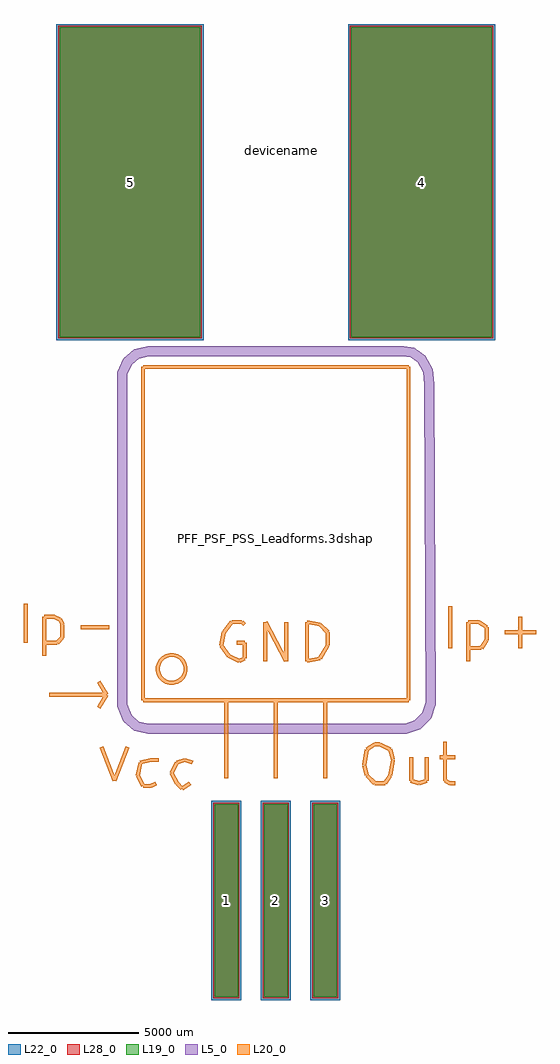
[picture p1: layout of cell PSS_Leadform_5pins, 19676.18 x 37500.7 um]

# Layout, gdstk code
import gdstk
lib = gdstk.Library(unit=1e-6, precision=1e-09)
def R(c, l, rs):  # rectangles x0, y0, x1, y1
    for r in rs: c.add(gdstk.rectangle(r[:2], r[2:], *l))
def A(c, l, x, y, w, h, nx, ny, dx, dy):  # array of equal rectangles
    R(c, l, [(x+i*dx, y+j*dy, x+i*dx+w, y+j*dy+h) for i in range(nx) for j in range(ny)])
L5_0 = (5, 0)
L19_0 = (19, 0)
L20_0 = (20, 0)
L22_0 = (22, 0)
L28_0 = (28, 0)

pss_leadform_5pins = lib.new_cell('PSS_Leadform_5pins')
A(pss_leadform_5pins, L19_0, -2350.3, -17599.19, 900.76, 7400.62, 3, 1, 1899.92, 0)
R(pss_leadform_5pins, L19_0, [(-8301.52,7750.01,-2899.88,19651.51), (2899.88,7750.01,8301.52,19651.51)])
A(pss_leadform_5pins, L22_0, -2475.3, -17724.19, 1150.76, 7650.62, 3, 1, 1899.92, 0)
R(pss_leadform_5pins, L22_0, [(-8426.52,7625.01,-2774.88,19776.51), (2774.88,7625.01,8426.52,19776.51)])
A(pss_leadform_5pins, L28_0, -2400.3, -17649.19, 1000.76, 7500.62, 3, 1, 1899.92, 0)
R(pss_leadform_5pins, L28_0, [(-8351.52,7700.01,-2849.88,19701.51), (2849.88,7700.01,8351.52,19701.51)])
pss_leadform_5pins.add(gdstk.FlexPath([(-5100.32,-6200.14),(-5100.32,6598.92)], 149.998, ends="flush", simple_path=True, layer=20, datatype=0))  # L20_0
pss_leadform_5pins.add(gdstk.FlexPath([(5100.32,-6200.14),(-5100.32,-6200.14)], 149.998, ends="flush", simple_path=True, layer=20, datatype=0))  # L20_0
pss_leadform_5pins.add(gdstk.FlexPath([(5100.32,6598.92),(5100.32,-6200.14)], 149.998, ends="flush", simple_path=True, layer=20, datatype=0))  # L20_0
pss_leadform_5pins.add(gdstk.FlexPath([(-5100.32,6598.92),(5100.32,6598.92)], 149.998, ends="flush", simple_path=True, layer=20, datatype=0))  # L20_0
pss_leadform_5pins.add(gdstk.FlexPath([(0,-6200.14),(0,-9199.88)], 149.998, ends="flush", simple_path=True, layer=20, datatype=0))  # L20_0
pss_leadform_5pins.add(gdstk.FlexPath([(-1899.92,-6200.14),(-1899.92,-9199.88)], 149.998, ends="flush", simple_path=True, layer=20, datatype=0))  # L20_0
pss_leadform_5pins.add(gdstk.FlexPath([(1899.92,-6200.14),(1899.92,-9199.88)], 149.998, ends="flush", simple_path=True, layer=20, datatype=0))  # L20_0
pss_leadform_5pins.add(gdstk.FlexPath([(-9601.2,-2499.36),(-9601.2,-4000.5)], 149.998, ends="flush", simple_path=True, layer=20, datatype=0))  # L20_0
pss_leadform_5pins.add(gdstk.FlexPath([(-8900.16,-2999.74),(-8900.16,-4500.88)], 149.998, ends="flush", simple_path=True, layer=20, datatype=0))  # L20_0
pss_leadform_5pins.add(gdstk.FlexPath([(-8399.78,-4000.5),(-8900.16,-4000.5)], 149.998, ends="flush", simple_path=True, layer=20, datatype=0))  # L20_0
pss_leadform_5pins.add(gdstk.FlexPath([(-8201.66,-3799.84),(-8399.78,-4000.5)], 149.998, ends="flush", simple_path=True, layer=20, datatype=0))  # L20_0
pss_leadform_5pins.add(gdstk.FlexPath([(-8201.66,-3299.46),(-8201.66,-3799.84)], 149.998, ends="flush", simple_path=True, layer=20, datatype=0))  # L20_0
pss_leadform_5pins.add(gdstk.FlexPath([(-8300.72,-3098.8),(-8201.66,-3299.46)], 149.998, ends="flush", simple_path=True, layer=20, datatype=0))  # L20_0
pss_leadform_5pins.add(gdstk.FlexPath([(-8501.38,-2999.74),(-8300.72,-3098.8)], 149.998, ends="flush", simple_path=True, layer=20, datatype=0))  # L20_0
pss_leadform_5pins.add(gdstk.FlexPath([(-8900.16,-2999.74),(-8501.38,-2999.74)], 149.998, ends="flush", simple_path=True, layer=20, datatype=0))  # L20_0
pss_leadform_5pins.add(gdstk.FlexPath([(-6400.8,-3401.06),(-7500.62,-3401.06)], 149.998, ends="flush", simple_path=True, layer=20, datatype=0))  # L20_0
pss_leadform_5pins.add(gdstk.FlexPath([(-1198.88,-4000.5),(-1501.14,-4000.5)], 149.998, ends="flush", simple_path=True, layer=20, datatype=0))  # L20_0
pss_leadform_5pins.add(gdstk.FlexPath([(-1198.88,-4599.94),(-1198.88,-4000.5)], 149.998, ends="flush", simple_path=True, layer=20, datatype=0))  # L20_0
pss_leadform_5pins.add(gdstk.FlexPath([(-1399.54,-4699),(-1198.88,-4599.94)], 149.998, ends="flush", simple_path=True, layer=20, datatype=0))  # L20_0
pss_leadform_5pins.add(gdstk.FlexPath([(-1800.86,-4500.88),(-1399.54,-4699)], 149.998, ends="flush", simple_path=True, layer=20, datatype=0))  # L20_0
pss_leadform_5pins.add(gdstk.FlexPath([(-2100.58,-4099.56),(-1800.86,-4500.88)], 149.998, ends="flush", simple_path=True, layer=20, datatype=0))  # L20_0
pss_leadform_5pins.add(gdstk.FlexPath([(-1998.98,-3599.18),(-2100.58,-4099.56)], 149.998, ends="flush", simple_path=True, layer=20, datatype=0))  # L20_0
pss_leadform_5pins.add(gdstk.FlexPath([(-1699.26,-3200.4),(-1998.98,-3599.18)], 149.998, ends="flush", simple_path=True, layer=20, datatype=0))  # L20_0
pss_leadform_5pins.add(gdstk.FlexPath([(-1300.48,-3200.4),(-1699.26,-3200.4)], 149.998, ends="flush", simple_path=True, layer=20, datatype=0))  # L20_0
pss_leadform_5pins.add(gdstk.FlexPath([(-1198.88,-3299.46),(-1300.48,-3200.4)], 149.998, ends="flush", simple_path=True, layer=20, datatype=0))  # L20_0
pss_leadform_5pins.add(gdstk.FlexPath([(398.78,-4699),(398.78,-3200.4)], 149.998, ends="flush", simple_path=True, layer=20, datatype=0))  # L20_0
pss_leadform_5pins.add(gdstk.FlexPath([(-398.78,-3200.4),(398.78,-4699)], 149.998, ends="flush", simple_path=True, layer=20, datatype=0))  # L20_0
pss_leadform_5pins.add(gdstk.FlexPath([(-398.78,-4699),(-398.78,-3200.4)], 149.998, ends="flush", simple_path=True, layer=20, datatype=0))  # L20_0
pss_leadform_5pins.add(gdstk.FlexPath([(1699.26,-3299.46),(1198.88,-3200.4)], 149.998, ends="flush", simple_path=True, layer=20, datatype=0))  # L20_0
pss_leadform_5pins.add(gdstk.FlexPath([(1998.98,-3599.18),(1699.26,-3299.46)], 149.998, ends="flush", simple_path=True, layer=20, datatype=0))  # L20_0
pss_leadform_5pins.add(gdstk.FlexPath([(1998.98,-4099.56),(1998.98,-3599.18)], 149.998, ends="flush", simple_path=True, layer=20, datatype=0))  # L20_0
pss_leadform_5pins.add(gdstk.FlexPath([(1699.26,-4599.94),(1998.98,-4099.56)], 149.998, ends="flush", simple_path=True, layer=20, datatype=0))  # L20_0
pss_leadform_5pins.add(gdstk.FlexPath([(1198.88,-4699),(1699.26,-4599.94)], 149.998, ends="flush", simple_path=True, layer=20, datatype=0))  # L20_0
pss_leadform_5pins.add(gdstk.FlexPath([(1198.88,-3200.4),(1198.88,-4699)], 149.998, ends="flush", simple_path=True, layer=20, datatype=0))  # L20_0
pss_leadform_5pins.add(gdstk.FlexPath([(6700.52,-2600.96),(6700.52,-4201.16)], 149.998, ends="flush", simple_path=True, layer=20, datatype=0))  # L20_0
pss_leadform_5pins.add(gdstk.FlexPath([(7399.02,-3200.4),(7399.02,-4699)], 149.998, ends="flush", simple_path=True, layer=20, datatype=0))  # L20_0
pss_leadform_5pins.add(gdstk.FlexPath([(7899.4,-4201.16),(7500.62,-4201.16)], 149.998, ends="flush", simple_path=True, layer=20, datatype=0))  # L20_0
pss_leadform_5pins.add(gdstk.FlexPath([(8100.06,-3898.9),(7899.4,-4201.16)], 149.998, ends="flush", simple_path=True, layer=20, datatype=0))  # L20_0
pss_leadform_5pins.add(gdstk.FlexPath([(8100.06,-3401.06),(8100.06,-3898.9)], 149.998, ends="flush", simple_path=True, layer=20, datatype=0))  # L20_0
pss_leadform_5pins.add(gdstk.FlexPath([(7800.34,-3200.4),(8100.06,-3401.06)], 149.998, ends="flush", simple_path=True, layer=20, datatype=0))  # L20_0
pss_leadform_5pins.add(gdstk.FlexPath([(7399.02,-3200.4),(7800.34,-3200.4)], 149.998, ends="flush", simple_path=True, layer=20, datatype=0))  # L20_0
pss_leadform_5pins.add(gdstk.FlexPath([(9999.98,-3599.18),(8798.56,-3599.18)], 149.998, ends="flush", simple_path=True, layer=20, datatype=0))  # L20_0
pss_leadform_5pins.add(gdstk.FlexPath([(9400.54,-2999.74),(9400.54,-4201.16)], 149.998, ends="flush", simple_path=True, layer=20, datatype=0))  # L20_0
pss_leadform_5pins.add(gdstk.FlexPath([(4399.28,-8097.52),(4000.5,-7899.4)], 149.998, ends="flush", simple_path=True, layer=20, datatype=0))  # L20_0
pss_leadform_5pins.add(gdstk.FlexPath([(4500.88,-8498.84),(4399.28,-8097.52)], 149.998, ends="flush", simple_path=True, layer=20, datatype=0))  # L20_0
pss_leadform_5pins.add(gdstk.FlexPath([(4399.28,-9098.28),(4500.88,-8498.84)], 149.998, ends="flush", simple_path=True, layer=20, datatype=0))  # L20_0
pss_leadform_5pins.add(gdstk.FlexPath([(4201.16,-9398),(4399.28,-9098.28)], 149.998, ends="flush", simple_path=True, layer=20, datatype=0))  # L20_0
pss_leadform_5pins.add(gdstk.FlexPath([(3799.84,-9398),(4201.16,-9398)], 149.998, ends="flush", simple_path=True, layer=20, datatype=0))  # L20_0
pss_leadform_5pins.add(gdstk.FlexPath([(3500.12,-9098.28),(3799.84,-9398)], 149.998, ends="flush", simple_path=True, layer=20, datatype=0))  # L20_0
pss_leadform_5pins.add(gdstk.FlexPath([(3401.06,-8699.5),(3500.12,-9098.28)], 149.998, ends="flush", simple_path=True, layer=20, datatype=0))  # L20_0
pss_leadform_5pins.add(gdstk.FlexPath([(3500.12,-8097.52),(3401.06,-8699.5)], 149.998, ends="flush", simple_path=True, layer=20, datatype=0))  # L20_0
pss_leadform_5pins.add(gdstk.FlexPath([(3799.84,-7899.4),(3500.12,-8097.52)], 149.998, ends="flush", simple_path=True, layer=20, datatype=0))  # L20_0
pss_leadform_5pins.add(gdstk.FlexPath([(4000.5,-7901.94),(3799.84,-7901.94)], 149.998, ends="flush", simple_path=True, layer=20, datatype=0))  # L20_0
pss_leadform_5pins.add(gdstk.FlexPath([(5798.82,-9298.94),(5798.82,-8399.78)], 149.998, ends="flush", simple_path=True, layer=20, datatype=0))  # L20_0
pss_leadform_5pins.add(gdstk.FlexPath([(5499.1,-9398),(5798.82,-9298.94)], 149.998, ends="flush", simple_path=True, layer=20, datatype=0))  # L20_0
pss_leadform_5pins.add(gdstk.FlexPath([(5199.38,-9298.94),(5499.1,-9398)], 149.998, ends="flush", simple_path=True, layer=20, datatype=0))  # L20_0
pss_leadform_5pins.add(gdstk.FlexPath([(5199.38,-8399.78),(5199.38,-9298.94)], 149.998, ends="flush", simple_path=True, layer=20, datatype=0))  # L20_0
pss_leadform_5pins.add(gdstk.FlexPath([(6700.52,-9398),(6901.18,-9398)], 149.998, ends="flush", simple_path=True, layer=20, datatype=0))  # L20_0
pss_leadform_5pins.add(gdstk.FlexPath([(6499.86,-9298.94),(6700.52,-9398)], 149.998, ends="flush", simple_path=True, layer=20, datatype=0))  # L20_0
pss_leadform_5pins.add(gdstk.FlexPath([(6499.86,-7797.8),(6499.86,-9298.94)], 149.998, ends="flush", simple_path=True, layer=20, datatype=0))  # L20_0
pss_leadform_5pins.add(gdstk.FlexPath([(6901.18,-8399.78),(6299.2,-8399.78)], 149.998, ends="flush", simple_path=True, layer=20, datatype=0))  # L20_0
pss_leadform_5pins.add(gdstk.FlexPath([(-6200.14,-9301.48),(-5699.76,-8001)], 149.998, ends="flush", simple_path=True, layer=20, datatype=0))  # L20_0
pss_leadform_5pins.add(gdstk.FlexPath([(-6700.52,-8001),(-6200.14,-9301.48)], 149.998, ends="flush", simple_path=True, layer=20, datatype=0))  # L20_0
pss_leadform_5pins.add(gdstk.FlexPath([(-4800.6,-9502.14),(-4599.94,-9400.54)], 149.998, ends="flush", simple_path=True, layer=20, datatype=0))  # L20_0
pss_leadform_5pins.add(gdstk.FlexPath([(-5100.32,-9502.14),(-4800.6,-9502.14)], 149.998, ends="flush", simple_path=True, layer=20, datatype=0))  # L20_0
pss_leadform_5pins.add(gdstk.FlexPath([(-5300.98,-9100.82),(-5100.32,-9502.14)], 149.998, ends="flush", simple_path=True, layer=20, datatype=0))  # L20_0
pss_leadform_5pins.add(gdstk.FlexPath([(-5199.38,-8600.44),(-5300.98,-9100.82)], 149.998, ends="flush", simple_path=True, layer=20, datatype=0))  # L20_0
pss_leadform_5pins.add(gdstk.FlexPath([(-4800.6,-8501.38),(-5199.38,-8600.44)], 149.998, ends="flush", simple_path=True, layer=20, datatype=0))  # L20_0
pss_leadform_5pins.add(gdstk.FlexPath([(-4500.88,-8501.38),(-4800.6,-8501.38)], 149.998, ends="flush", simple_path=True, layer=20, datatype=0))  # L20_0
pss_leadform_5pins.add(gdstk.FlexPath([(-3599.18,-9601.2),(-3299.46,-9400.54)], 149.998, ends="flush", simple_path=True, layer=20, datatype=0))  # L20_0
pss_leadform_5pins.add(gdstk.FlexPath([(-3799.84,-9400.54),(-3599.18,-9601.2)], 149.998, ends="flush", simple_path=True, layer=20, datatype=0))  # L20_0
pss_leadform_5pins.add(gdstk.FlexPath([(-4000.5,-9001.76),(-3799.84,-9400.54)], 149.998, ends="flush", simple_path=True, layer=20, datatype=0))  # L20_0
pss_leadform_5pins.add(gdstk.FlexPath([(-3799.84,-8600.44),(-4000.5,-9001.76)], 149.998, ends="flush", simple_path=True, layer=20, datatype=0))  # L20_0
pss_leadform_5pins.add(gdstk.FlexPath([(-3500.12,-8501.38),(-3799.84,-8600.44)], 149.998, ends="flush", simple_path=True, layer=20, datatype=0))  # L20_0
pss_leadform_5pins.add(gdstk.FlexPath([(-3200.4,-8600.44),(-3500.12,-8501.38)], 149.998, ends="flush", simple_path=True, layer=20, datatype=0))  # L20_0
pss_leadform_5pins.add(gdstk.FlexPath([(-3799.84,-5499.1),(-3677.827,-5430.202),(-3577.803,-5332.072),(-3506.586,-5211.398),(-3469.028,-5076.403),(-3467.689,-4936.288),(-3502.66,-4800.6),(-3571.558,-4678.587),(-3669.688,-4578.563),(-3790.362,-4507.346),(-3925.357,-4469.788),(-4065.472,-4468.449),(-4201.16,-4503.42),(-4323.173,-4572.318),(-4423.197,-4670.448),(-4494.414,-4791.122),(-4531.972,-4926.117),(-4533.311,-5066.232),(-4498.34,-5201.92),(-4429.442,-5323.933),(-4331.312,-5423.957),(-4210.638,-5495.174),(-4075.643,-5532.732),(-3935.528,-5534.071),(-3799.84,-5499.1)], 149.998, ends="flush", simple_path=True, layer=20, datatype=0))  # L20_0
pss_leadform_5pins.add(gdstk.FlexPath([(-6499.86,-5999.48),(-8699.5,-5999.48)], 149.998, ends="flush", simple_path=True, layer=20, datatype=0))  # L20_0
pss_leadform_5pins.add(gdstk.FlexPath([(-6499.86,-5999.48),(-6799.58,-5499.1)], 149.998, ends="flush", simple_path=True, layer=20, datatype=0))  # L20_0
pss_leadform_5pins.add(gdstk.FlexPath([(-6499.86,-5999.48),(-6799.58,-6499.86)], 149.998, ends="flush", simple_path=True, layer=20, datatype=0))  # L20_0
pss_leadform_5pins.add(gdstk.FlexPath([(5951.22,-6350),(5798.82,-6799.58),(5450.84,-7150.1),(5001.26,-7299.96),(-4899.66,-7299.96),(-5349.24,-7200.9),(-5699.76,-6901.18),(-5900.42,-6400.8),(-5900.42,6350),(-5699.76,6799.58),(-5349.24,7099.3),(-4899.66,7200.9),(99.06,7200.9)], 380.998, ends="flush", simple_path=True, layer=5, datatype=0))  # L5_0
pss_leadform_5pins.add(gdstk.FlexPath([(0,7200.9),(4899.66,7200.9),(5250.18,7150.1),(5600.7,6901.18),(5849.62,6449.06),(5900.42,5951.22),(5951.22,-6400.8)], 380.998, ends="flush", simple_path=True, layer=5, datatype=0))  # L5_0
pss_leadform_5pins.add(gdstk.Label('PFF_PSF_PSS_Leadforms.3dshapes/PSS_Leadform_5pins.wrl', (0,0), layer=12, texttype=0))
pss_leadform_5pins.add(gdstk.Label('5', (-5600.7,13700.76), layer=28, texttype=0))
pss_leadform_5pins.add(gdstk.Label('4', (5600.7,13700.76), layer=28, texttype=0))
pss_leadform_5pins.add(gdstk.Label('1', (-1899.92,-13898.88), layer=28, texttype=0))
pss_leadform_5pins.add(gdstk.Label('3', (1899.92,-13898.88), layer=28, texttype=0))
pss_leadform_5pins.add(gdstk.Label('2', (0,-13898.88), layer=28, texttype=0))
pss_leadform_5pins.add(gdstk.Label('type', (-99.06,-19499.58), layer=9, texttype=0))
pss_leadform_5pins.add(gdstk.Label('devicename', (200.66,14899.64), layer=9, texttype=0))

lib.write_gds('PSS_Leadform_5pins.gds')
